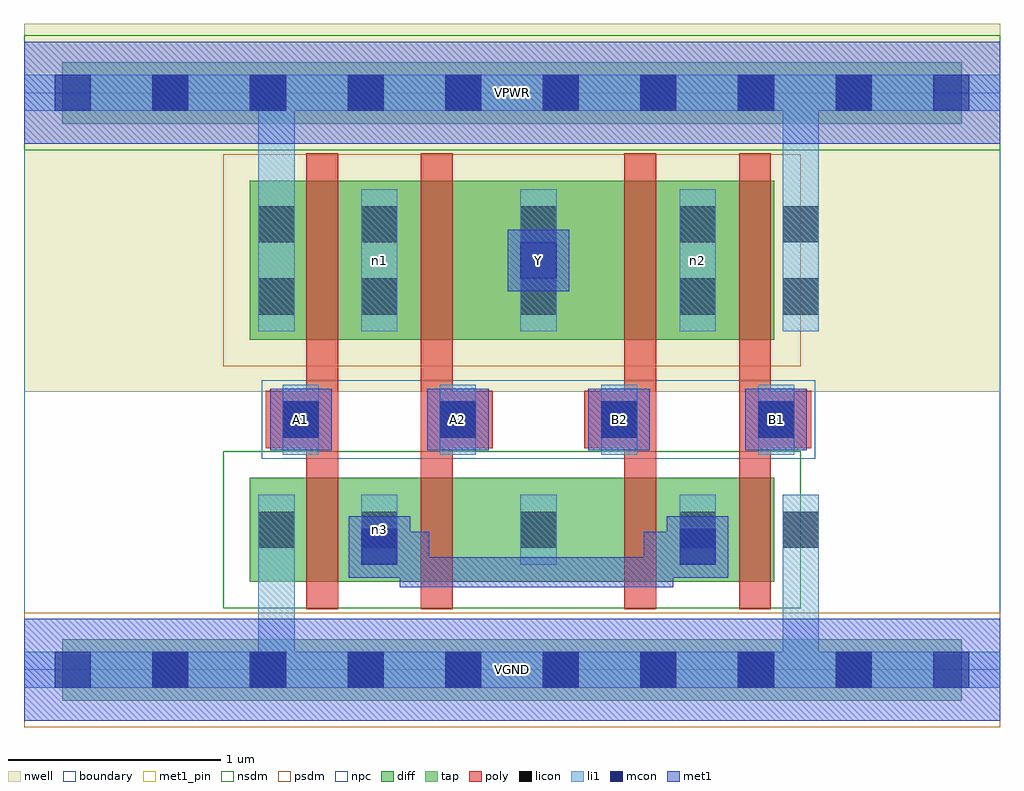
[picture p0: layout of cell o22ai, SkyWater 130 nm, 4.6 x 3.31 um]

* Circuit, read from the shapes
.subckt o22ai A1 A2 B1 B2 VGND VPWR Y n1 n2 n3
XM1 n3 A1 VGND VGND sky130_fd_pr__nfet_01v8 w=0.49 l=0.15
XM2 n4 A2 n3 VGND sky130_fd_pr__nfet_01v8 w=0.49 l=0.15
XM3 n3 B2 n4 VGND sky130_fd_pr__nfet_01v8 w=0.49 l=0.15
XM4 n5 B1 n3 VGND sky130_fd_pr__nfet_01v8 w=0.49 l=0.15
XM5 n1 A1 VPWR VPWR sky130_fd_pr__pfet_01v8 w=0.75 l=0.15
XM6 Y A2 n1 VPWR sky130_fd_pr__pfet_01v8 w=0.75 l=0.15
XM7 n2 B2 Y VPWR sky130_fd_pr__pfet_01v8 w=0.75 l=0.15
XM8 n6 B1 n2 VPWR sky130_fd_pr__pfet_01v8 w=0.75 l=0.15
.ends

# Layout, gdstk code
import gdstk
lib = gdstk.Library(unit=1e-6, precision=1e-09)
def R(c, l, rs):  # rectangles x0, y0, x1, y1
    for r in rs: c.add(gdstk.rectangle(r[:2], r[2:], *l))
def A(c, l, x, y, w, h, nx, ny, dx, dy):  # array of equal rectangles
    R(c, l, [(x+i*dx, y+j*dy, x+i*dx+w, y+j*dy+h) for i in range(nx) for j in range(ny)])
nwell = (64, 20)
diff = (65, 20)
tap = (65, 44)
poly = (66, 20)
licon = (66, 44)
li1 = (67, 20)
mcon = (67, 44)
met1_pin = (68, 16)
met1 = (68, 20)
nsdm = (93, 44)
psdm = (94, 20)
npc = (95, 20)
boundary = (235, 4)

o22ai = lib.new_cell('o22ai')
R(o22ai, nwell, [(0,1.31,4.6,3.045)])
R(o22ai, diff, [(1.065,0.415,3.535,0.905), (1.065,1.555,3.535,2.305)])
R(o22ai, tap, [(0.18,-0.145,4.42,0.145), (0.18,2.575,4.42,2.865)])
R(o22ai, poly, [(1.33,0.285,1.48,2.435), (1.87,0.285,2.02,2.435), (2.83,0.285,2.98,2.435), (3.37,0.285,3.52,2.435), (1.14,1.045,1.47,1.315), (1.88,1.045,2.21,1.315), (2.64,1.045,2.97,1.315), (3.38,1.045,3.71,1.315)])
A(o22ai, licon, 0.605, -0.085, 0.17, 0.17, 8, 2, 0.46, 2.72)
A(o22ai, licon, 1.59, 0.575, 0.17, 0.17, 3, 2, 0.75, 1.1)
A(o22ai, licon, 1.59, 2.015, 0.17, 0.17, 3, 1, 0.75, 0)
R(o22ai, licon, [(1.105,0.575,1.275,0.745), (3.575,0.575,3.745,0.745), (1.22,1.095,1.39,1.265), (1.96,1.095,2.13,1.265), (2.72,1.095,2.89,1.265), (3.46,1.095,3.63,1.265), (1.105,1.675,1.275,1.845), (3.575,1.675,3.745,1.845), (1.105,2.015,1.275,2.185), (3.575,2.015,3.745,2.185)])
A(o22ai, li1, 1.59, 0.495, 0.17, 0.33, 3, 1, 0.75, 0)
A(o22ai, li1, 1.59, 1.595, 0.17, 0.67, 3, 1, 0.75, 0)
R(o22ai, li1, [(0,-0.085,4.6,0.085), (1.105,-0.085,1.275,0.825), (3.575,-0.085,3.745,0.825), (1.105,0.495,1.275,0.825), (3.575,0.495,3.745,0.825), (1.22,1.015,1.39,1.345), (1.96,1.015,2.13,1.345), (2.72,1.015,2.89,1.345), (3.46,1.015,3.63,1.345), (1.105,1.595,1.275,2.265), (1.105,1.595,1.275,2.805), (3.575,1.595,3.745,2.265), (3.575,1.595,3.745,2.805), (0,2.635,4.6,2.805)])
A(o22ai, mcon, 0.145, -0.085, 0.17, 0.17, 10, 2, 0.46, 2.72)
R(o22ai, mcon, [(1.59,0.495,1.76,0.665), (3.09,0.495,3.26,0.665), (1.22,1.095,1.39,1.265), (1.96,1.095,2.13,1.265), (2.72,1.095,2.89,1.265), (3.46,1.095,3.63,1.265), (2.34,1.845,2.51,2.015)])
R(o22ai, met1_pin, [(0,-0.24,4.6,0.24), (1.16,1.035,1.45,1.325), (1.9,1.035,2.19,1.325), (2.66,1.035,2.95,1.325), (3.4,1.035,3.69,1.325), (2.28,1.785,2.57,2.075), (0,2.48,4.6,2.96)])
R(o22ai, met1, [(0,-0.24,4.6,0.24), (1.77,0.39,1.91,0.65), (1.77,0.39,3.06,0.53), (2.92,0.39,3.06,0.65), (1.53,0.435,1.82,0.725), (3.03,0.435,3.32,0.725), (1.605,0.51,1.91,0.65), (2.92,0.51,3.245,0.65), (1.16,1.035,1.45,1.325), (1.9,1.035,2.19,1.325), (2.66,1.035,2.95,1.325), (3.4,1.035,3.69,1.325), (2.28,1.785,2.57,2.075), (0,2.48,4.6,2.96)])
R(o22ai, nsdm, [(0.94,0.29,3.66,1.03), (0,2.45,4.6,2.99)])
R(o22ai, psdm, [(0,-0.27,4.6,0.27), (0.94,1.43,3.66,2.43)])
R(o22ai, npc, [(1.12,0.995,3.73,1.365)])
R(o22ai, boundary, [(0,0,4.6,2.72)])
o22ai.add(gdstk.Label('n1', (1.675,1.93), layer=67, texttype=5))
o22ai.add(gdstk.Label('n2', (3.175,1.93), layer=67, texttype=5))
o22ai.add(gdstk.Label('n3', (1.675,0.66), layer=67, texttype=5))
o22ai.add(gdstk.Label('A1', (1.305,1.18), layer=68, texttype=5))
o22ai.add(gdstk.Label('A2', (2.045,1.18), layer=68, texttype=5))
o22ai.add(gdstk.Label('B1', (3.545,1.18), layer=68, texttype=5))
o22ai.add(gdstk.Label('B2', (2.805,1.18), layer=68, texttype=5))
o22ai.add(gdstk.Label('Y', (2.425,1.93), layer=68, texttype=5))
o22ai.add(gdstk.Label('VPWR', (2.3,2.72), layer=68, texttype=5))
o22ai.add(gdstk.Label('VGND', (2.3,0), layer=68, texttype=5))
o22ai.add(gdstk.Label('A1', (1.305,1.18), layer=68, texttype=16))
o22ai.add(gdstk.Label('A2', (2.045,1.18), layer=68, texttype=16))
o22ai.add(gdstk.Label('B1', (3.545,1.18), layer=68, texttype=16))
o22ai.add(gdstk.Label('B2', (2.805,1.18), layer=68, texttype=16))
o22ai.add(gdstk.Label('Y', (2.425,1.93), layer=68, texttype=16))
o22ai.add(gdstk.Label('VPWR', (2.3,2.72), layer=68, texttype=16))
o22ai.add(gdstk.Label('VGND', (2.3,0), layer=68, texttype=16))

lib.write_gds('o22ai.gds')
